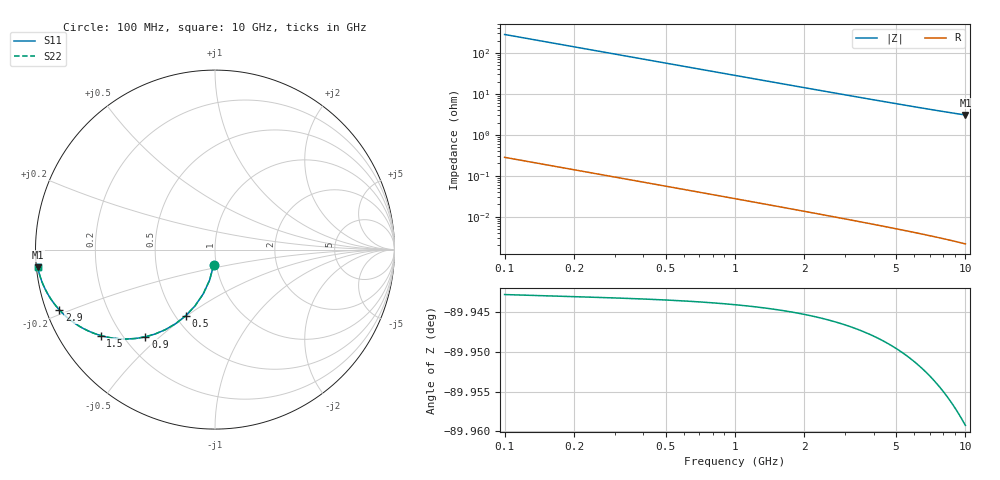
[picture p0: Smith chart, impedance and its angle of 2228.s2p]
# Hz S RI R 50.00
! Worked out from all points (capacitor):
!   100 points, 100 MHz to 10 GHz, reference 50 ohm
!   read as one part in shunt: C = 5.63 pF near 100 MHz
!   lowest |Z| = 3.05 ohm at 10 GHz (marker M1)
!   S11 on the Smith chart (normalised r, x): 100 MHz: 0.97, -0.17; 500 MHz: 0.56, -0.50; 900 MHz: 0.28, -0.45; 1.5 GHz: 0.13, -0.33; 2.9 GHz: 0.04, -0.19; 10 GHz: 0.00, -0.05
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1e8  -0.00781 -0.0876  0.9921 -0.0878  0.9921 -0.0878  -0.00781 -0.0876
2e8  -0.0305 -0.1712  0.9695 -0.1716  0.9695 -0.1716  -0.0305 -0.1712
3e8  -0.0659 -0.2474  0.934 -0.248  0.934 -0.248  -0.0659 -0.2474
4e8  -0.1114 -0.3137  0.8885 -0.3146  0.8885 -0.3146  -0.1114 -0.3137
5e8  -0.1637 -0.369  0.8362 -0.3701  0.8362 -0.3701  -0.1637 -0.369
6e8  -0.2198 -0.413  0.7801 -0.4143  0.7801 -0.4143  -0.2198 -0.413
7e8  -0.2771 -0.4463  0.7229 -0.4478  0.7229 -0.4478  -0.2771 -0.4463
9e8  -0.3877 -0.4858  0.6123 -0.4877  0.6123 -0.4877  -0.3877 -0.4858
1e9  -0.4386 -0.4947  0.5613 -0.4968  0.5613 -0.4968  -0.4386 -0.4947
1.2e9  -0.5293 -0.4974  0.4706 -0.4999  0.4706 -0.4999  -0.5293 -0.4974
1.5e9  -0.6371 -0.4787  0.3628 -0.4819  0.3628 -0.4819  -0.6371 -0.4787
1.8e9  -0.7165 -0.4483  0.2835 -0.4521  0.2835 -0.4521  -0.7165 -0.4483
2e9  -0.7572 -0.4261  0.2427 -0.4304  0.2427 -0.4304  -0.7572 -0.4261
2.3e9  -0.8048 -0.3934  0.1951 -0.3983  0.1951 -0.3983  -0.8048 -0.3934
2.6e9  -0.8404 -0.3629  0.1595 -0.3685  0.1595 -0.3685  -0.8404 -0.3629
2.9e9  -0.8675 -0.3353  0.1324 -0.3415  0.1324 -0.3415  -0.8675 -0.3353
3.4e9  -0.9 -0.2958  0.0999 -0.3031  0.0999 -0.3031  -0.9 -0.2958
4.2e9  -0.9321 -0.2464  0.0677 -0.2554  0.0677 -0.2554  -0.9321 -0.2464
5.1e9  -0.953 -0.2054  0.0469 -0.2165  0.0469 -0.2165  -0.953 -0.2054
6.7e9  -0.9723 -0.1559  0.0275 -0.1706  0.0275 -0.1706  -0.9723 -0.1559
8.4e9  -0.9823 -0.1213  0.0174 -0.14  0.0174 -0.14  -0.9823 -0.1213
1e10  -0.9876 -0.0982  0.0121 -0.1208  0.0121 -0.1208  -0.9876 -0.0982
